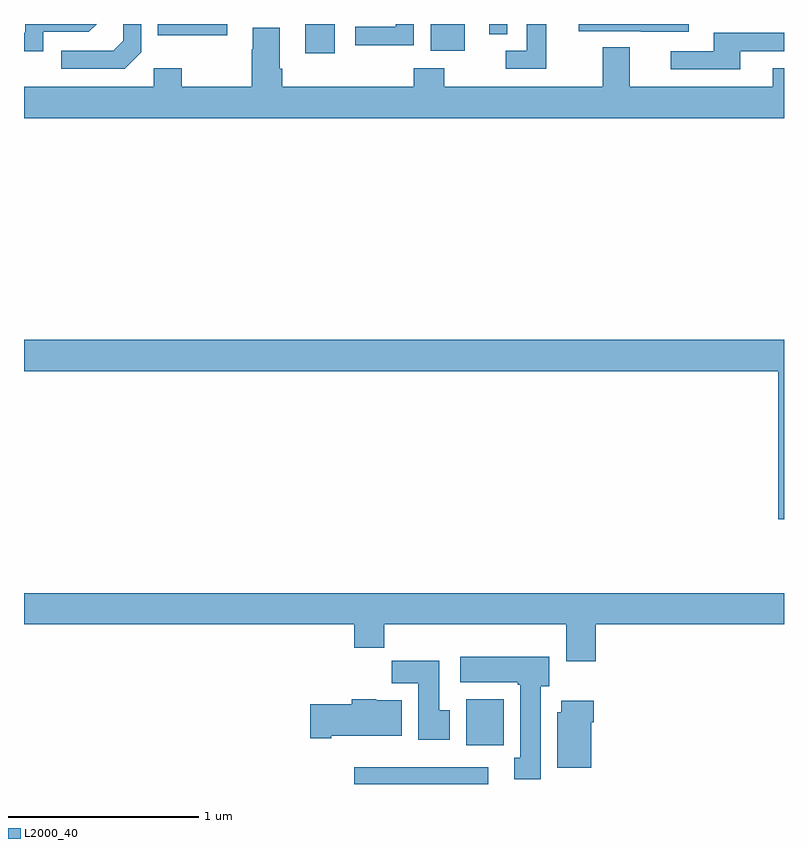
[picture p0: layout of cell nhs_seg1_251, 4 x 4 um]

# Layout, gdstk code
import gdstk
lib = gdstk.Library(unit=1e-6, precision=1e-09)
def R(c, l, rs):  # rectangles x0, y0, x1, y1
    for r in rs: c.add(gdstk.rectangle(r[:2], r[2:], *l))
def P(c, l, *ps):  # polygons
    for p in ps: c.add(gdstk.Polygon(p, *l))
L2000_40 = (2000, 40)

nhs_seg1_251 = lib.new_cell('nhs_seg1_251')
R(nhs_seg1_251, L2000_40, [(124.739,576.199,125.443,576.286), (125.327,576.404,125.524,576.646), (124.481,580.044,124.636,580.199), (125.141,580.058,125.32,580.199), (123.703,580.139,124.07,580.199), (125.448,580.144,125.544,580.199)])
P(nhs_seg1_251, L2000_40, [(123.618,580.05),(123.618,580.199),(123.522,580.199),(123.522,580.11),(123.471,580.059),(123.195,580.059),(123.195,579.963),(123.531,579.963)],
  [(125.749,580.199),(125.645,580.199),(125.645,580.059),(125.535,580.059),(125.535,579.963),(125.749,579.963)],
  [(126.499,580.199),(125.921,580.199),(125.921,580.161),(126.245,580.161),(126.245,580.157),(126.499,580.157)],
  [(123.102,580.158),(123.342,580.158),(123.383,580.199),(123.006,580.199),(123.006,580.152),(123,580.152),(123,580.056),(123.102,580.056)],
  [(125.052,580.199),(124.956,580.199),(124.956,580.185),(124.743,580.185),(124.743,580.087),(125.052,580.087)],
  [(127,579.967),(126.941,579.967),(126.941,579.868),(126.187,579.868),(126.187,580.076),(126.047,580.076),(126.047,579.868),(125.211,579.868),(125.211,579.967),(125.051,579.967),(125.051,579.868),(124.358,579.868),(124.358,579.964),(124.345,579.964),(124.345,580.18),(124.205,580.18),(124.205,580.067),(124.198,580.067),(124.198,579.868),(123.831,579.868),(123.831,579.967),(123.684,579.967),(123.684,579.868),(123,579.868),(123,579.704),(127,579.704)],
  [(126.769,580.056),(127,580.056),(127,580.152),(126.629,580.152),(126.629,580.056),(126.405,580.056),(126.405,579.96),(126.769,579.96)],
  [(127,578.536),(123,578.536),(123,578.372),(126.971,578.372),(126.971,577.593),(127,577.593)],
  [(126.008,577.04),(127,577.04),(127,577.204),(123,577.204),(123,577.04),(124.739,577.04),(124.739,576.916),(124.895,576.916),(124.895,577.04),(125.855,577.04),(125.855,576.846),(126.008,576.846)],
  [(125.719,576.714),(125.764,576.714),(125.764,576.868),(125.295,576.868),(125.295,576.734),(125.599,576.734),(125.599,576.721),(125.612,576.721),(125.612,576.338),(125.579,576.338),(125.579,576.225),(125.719,576.225)],
  [(125.242,576.588),(125.185,576.588),(125.185,576.847),(124.936,576.847),(124.936,576.728),(125.075,576.728),(125.075,576.432),(125.242,576.432)],
  [(124.618,576.452),(124.987,576.452),(124.987,576.64),(124.854,576.64),(124.854,576.646),(124.724,576.646),(124.724,576.618),(124.506,576.618),(124.506,576.44),(124.618,576.44)],
  [(125.986,576.524),(125.999,576.524),(125.999,576.637),(125.828,576.637),(125.828,576.576),(125.807,576.576),(125.807,576.284),(125.986,576.284)])

lib.write_gds('nhs_seg1_251.gds')
